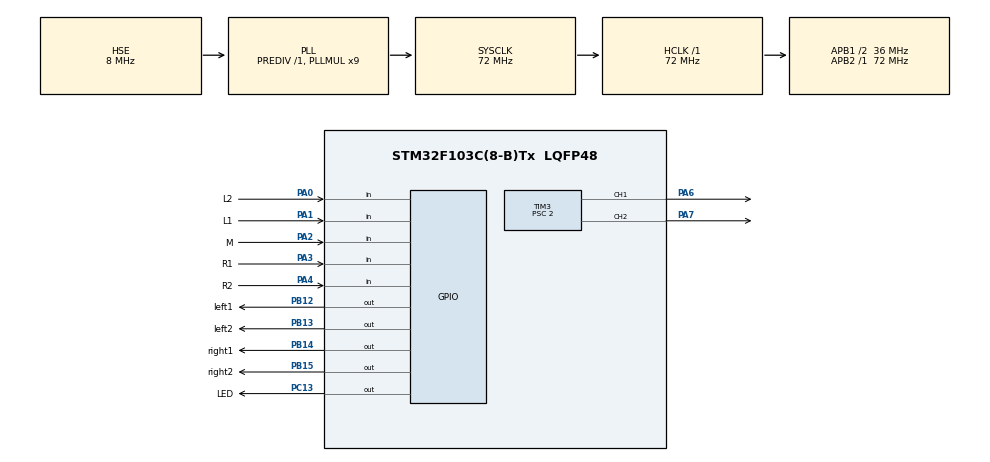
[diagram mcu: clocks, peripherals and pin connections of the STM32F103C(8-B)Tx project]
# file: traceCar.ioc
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Mcu.Family=STM32F1
Mcu.Name=STM32F103C(8-B)Tx
Mcu.Package=LQFP48
NVIC.PriorityGroup=NVIC_PRIORITYGROUP_4
PA0-WKUP.GPIO_Label=L2
PA0-WKUP.Signal=GPIO_Input
PA1.GPIO_Label=L1
PA1.Signal=GPIO_Input
PA2.GPIO_Label=M
PA2.Signal=GPIO_Input
PA3.GPIO_Label=R1
PA3.Signal=GPIO_Input
PA4.GPIO_Label=R2
PA4.Signal=GPIO_Input
PA6.Signal=S_TIM3_CH1
PA7.Signal=S_TIM3_CH2
PB12.GPIO_Label=left1
PB12.PinState=GPIO_PIN_SET
PB12.Signal=GPIO_Output
PB13.GPIO_Label=left2
PB13.PinState=GPIO_PIN_RESET
PB13.Signal=GPIO_Output
PB14.GPIO_Label=right1
PB14.PinState=GPIO_PIN_RESET
PB14.Signal=GPIO_Output
PB15.GPIO_Label=right2
PB15.PinState=GPIO_PIN_SET
PB15.Signal=GPIO_Output
PC13-TAMPER-RTC.GPIO_Label=LED
PC13-TAMPER-RTC.Signal=GPIO_Output
PD0-OSC_IN.Mode=HSE-External-Oscillator
PD0-OSC_IN.Signal=RCC_OSC_IN
PD1-OSC_OUT.Mode=HSE-External-Oscillator
PD1-OSC_OUT.Signal=RCC_OSC_OUT
ProjectManager.HeapSize=0x200
ProjectManager.StackSize=0x400
ProjectManager.TargetToolchain=MDK-ARM V5.32
RCC.AHBFreq_Value=72000000
RCC.APB1CLKDivider=RCC_HCLK_DIV2
RCC.APB1Freq_Value=36000000
RCC.APB1TimFreq_Value=72000000
RCC.APB2Freq_Value=72000000
RCC.APB2TimFreq_Value=72000000
RCC.HCLKFreq_Value=72000000
RCC.PLLMUL=RCC_PLL_MUL9
RCC.PLLSourceVirtual=RCC_PLLSOURCE_HSE
RCC.SYSCLKFreq_VALUE=72000000
RCC.SYSCLKSource=RCC_SYSCLKSOURCE_PLLCLK
RCC.USBFreq_Value=72000000
SH.S_TIM3_CH1.0=TIM3_CH1,PWM Generation1 CH1
SH.S_TIM3_CH2.0=TIM3_CH2,PWM Generation2 CH2
TIM3.Channel-PWM\ Generation1\ CH1=TIM_CHANNEL_1
TIM3.Channel-PWM\ Generation2\ CH2=TIM_CHANNEL_2
TIM3.Period=1000 - 1
TIM3.Prescaler=2
TIM3.Pulse-PWM\ Generation1\ CH1=650 -1
TIM3.Pulse-PWM\ Generation2\ CH2=650 - 1
VP_SYS_VS_ND.Mode=No_Debug
VP_TIM3_VS_ClockSourceINT.Mode=Internal
board=custom

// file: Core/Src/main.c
/* USER CODE BEGIN Header */
/**
  ******************************************************************************
  * @file           : main.c
  * @brief          : Main program body
  ******************************************************************************
  * @attention
  *
  * Copyright (c) 2022 STMicroelectronics.
  * All rights reserved.
  *
  * This software is licensed under terms that can be found in the LICENSE file
  * in the root directory of this software component.
  * If no LICENSE file comes with this software, it is provided AS-IS.
  *
  ******************************************************************************
  */
/* USER CODE END Header */
#include "main.h"
#include "tim.h"
#include "gpio.h"

/* USER CODE BEGIN Includes */
#include "motor.h"
/* USER CODE END Includes */

/* USER CODE BEGIN PD */
//定义读取端口高低电平
#define L1	HAL_GPIO_ReadPin(L1_GPIO_Port, L1_Pin)
#define L2	HAL_GPIO_ReadPin(L2_GPIO_Port, L2_Pin)
#define M	HAL_GPIO_ReadPin(M_GPIO_Port, M_Pin)
#define R1	HAL_GPIO_ReadPin(R1_GPIO_Port, R1_Pin)
#define R2	HAL_GPIO_ReadPin(R2_GPIO_Port, R2_Pin)

#define LED_ON 		HAL_GPIO_WritePin(LED_GPIO_Port, LED_Pin, GPIO_PIN_RESET)
#define LED_OFF 		HAL_GPIO_WritePin(LED_GPIO_Port, LED_Pin, GPIO_PIN_SET)
/* USER CODE END PD */

void SystemClock_Config(void);

int main(void)
{

  /* MCU Configuration--------------------------------------------------------*/

  /* Reset of all peripherals, Initializes the Flash interface and the Systick. */
  HAL_Init();

  /* Configure the system clock */
  SystemClock_Config();

  /* Initialize all configured peripherals */
  MX_GPIO_Init();
  MX_TIM3_Init();
  /* USER CODE BEGIN 2 */
	HAL_TIM_PWM_Start(&htim3, TIM_CHANNEL_1);
	HAL_TIM_PWM_Start(&htim3, TIM_CHANNEL_2);

	HAL_GPIO_WritePin(left1_GPIO_Port, left1_Pin, GPIO_PIN_SET);
	HAL_GPIO_WritePin(left2_GPIO_Port, left2_Pin, GPIO_PIN_RESET);
	HAL_GPIO_WritePin(right1_GPIO_Port, right1_Pin, GPIO_PIN_RESET);
	HAL_GPIO_WritePin(right2_GPIO_Port, right2_Pin, GPIO_PIN_SET);
  /* USER CODE END 2 */

  /* Infinite loop */
  /* USER CODE BEGIN WHILE */
  while (1)
  {
	  if ((!M && !L1 && !R1) || (!M && L1 && R1))
		  goForward();
	  else if (!M && !L1 && R1)
		  turnRight();
	  else if (!M && !R1 && L1)
		  turnLeft();
	  else if (!L1 && !L2)
		  turnRightSharply();
	  else if (!R1 && !R2)
		  turnLeftSharply();
	  else
		  STOP();
	  HAL_Delay(5);
    /* USER CODE END WHILE */

  }
}

void SystemClock_Config(void)
{
  RCC_OscInitTypeDef RCC_OscInitStruct = {0};
  RCC_ClkInitTypeDef RCC_ClkInitStruct = {0};

  /** Initializes the RCC Oscillators according to the specified parameters
  * in the RCC_OscInitTypeDef structure.
  */
  RCC_OscInitStruct.OscillatorType = RCC_OSCILLATORTYPE_HSE;
  RCC_OscInitStruct.HSEState = RCC_HSE_ON;
  RCC_OscInitStruct.HSEPredivValue = RCC_HSE_PREDIV_DIV1;
  RCC_OscInitStruct.HSIState = RCC_HSI_ON;
  RCC_OscInitStruct.PLL.PLLState = RCC_PLL_ON;
  RCC_OscInitStruct.PLL.PLLSource = RCC_PLLSOURCE_HSE;
  RCC_OscInitStruct.PLL.PLLMUL = RCC_PLL_MUL9;
  if (HAL_RCC_OscConfig(&RCC_OscInitStruct) != HAL_OK)
  {
    Error_Handler();
  }

  /** Initializes the CPU, AHB and APB buses clocks
  */
  RCC_ClkInitStruct.ClockType = RCC_CLOCKTYPE_HCLK|RCC_CLOCKTYPE_SYSCLK
                              |RCC_CLOCKTYPE_PCLK1|RCC_CLOCKTYPE_PCLK2;
  RCC_ClkInitStruct.SYSCLKSource = RCC_SYSCLKSOURCE_PLLCLK;
  RCC_ClkInitStruct.AHBCLKDivider = RCC_SYSCLK_DIV1;
  RCC_ClkInitStruct.APB1CLKDivider = RCC_HCLK_DIV2;
  RCC_ClkInitStruct.APB2CLKDivider = RCC_HCLK_DIV1;

  if (HAL_RCC_ClockConfig(&RCC_ClkInitStruct, FLASH_LATENCY_2) != HAL_OK)
  {
    Error_Handler();
  }
}

void Error_Handler(void)
{
  __disable_irq();
  while (1)
  {
  }
}
